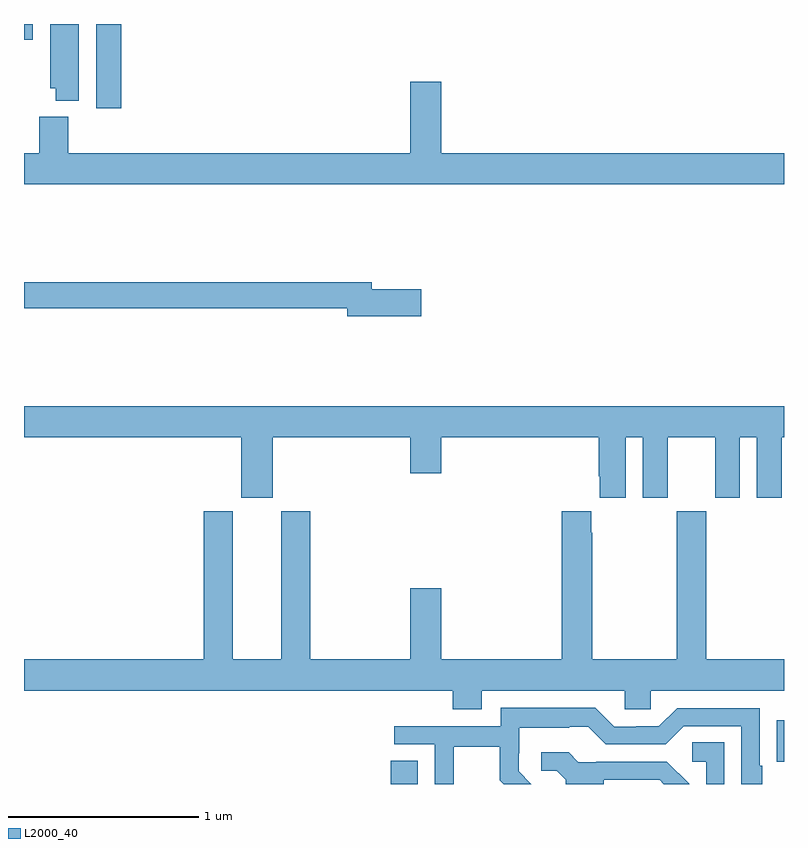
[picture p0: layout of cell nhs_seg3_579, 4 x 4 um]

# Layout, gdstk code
import gdstk
lib = gdstk.Library(unit=1e-6, precision=1e-09)
def R(c, l, rs):  # rectangles x0, y0, x1, y1
    for r in rs: c.add(gdstk.rectangle(r[:2], r[2:], *l))
def P(c, l, *ps):  # polygons
    for p in ps: c.add(gdstk.Polygon(p, *l))
L2000_40 = (2000, 40)

nhs_seg3_579 = lib.new_cell('nhs_seg3_579')
R(nhs_seg3_579, L2000_40, [(140.93,724.4,141.073,724.523), (142.963,724.516,143,724.735), (139.379,727.956,139.511,728.4), (139,728.316,139.045,728.4)])
P(nhs_seg3_579, L2000_40, [(139.288,728.4),(139.139,728.4),(139.139,728.061),(139.166,728.061),(139.166,727.997),(139.288,727.997)],
  [(143,727.72),(141.196,727.72),(141.196,728.095),(141.032,728.095),(141.032,727.72),(139.232,727.72),(139.232,727.912),(139.079,727.912),(139.079,727.72),(139,727.72),(139,727.556),(143,727.556)],
  [(141.091,727.004),(140.83,727.004),(140.83,727.04),(139,727.04),(139,726.904),(140.702,726.904),(140.702,726.862),(141.091,726.862)],
  [(140.308,726.224),(141.032,726.224),(141.032,726.036),(141.196,726.036),(141.196,726.224),(142.025,726.224),(142.025,726.019),(142.031,726.019),(142.031,725.907),(142.168,725.907),(142.168,726.224),(142.256,726.224),(142.256,725.907),(142.387,725.907),(142.387,726.224),(142.637,726.224),(142.637,725.907),(142.768,725.907),(142.768,726.224),(142.856,726.224),(142.856,725.907),(142.987,725.907),(142.987,726.224),(143,726.224),(143,726.388),(139,726.388),(139,726.224),(140.144,726.224),(140.144,725.907),(140.308,725.907)],
  [(141.409,724.892),(142.161,724.892),(142.161,724.794),(142.299,724.794),(142.299,724.892),(143,724.892),(143,725.056),(142.59,725.056),(142.59,725.836),(142.435,725.836),(142.435,725.056),(141.99,725.056),(141.99,725.723),(141.985,725.723),(141.985,725.836),(141.83,725.836),(141.83,725.056),(141.196,725.056),(141.196,725.431),(141.032,725.431),(141.032,725.056),(140.507,725.056),(140.507,725.835),(140.354,725.835),(140.354,725.056),(140.098,725.056),(140.098,725.835),(139.946,725.835),(139.946,725.056),(139,725.056),(139,724.892),(141.257,724.892),(141.257,724.793),(141.409,724.793)],
  [(141.261,724.596),(141.505,724.596),(141.505,724.421),(141.526,724.4),(141.67,724.4),(141.604,724.466),(141.604,724.563),(141.606,724.563),(141.606,724.697),(141.869,724.697),(141.869,724.701),(141.969,724.701),(142.062,724.608),(142.377,724.608),(142.473,724.704),(142.776,724.704),(142.776,724.4),(142.885,724.4),(142.885,724.495),(142.872,724.495),(142.872,724.8),(142.437,724.8),(142.341,724.704),(142.223,724.704),(142.223,724.701),(142.107,724.701),(142.007,724.801),(141.51,724.801),(141.51,724.704),(140.949,724.704),(140.949,724.608),(141.162,724.608),(141.162,724.4),(141.261,724.4)],
  [(142.686,724.619),(142.518,724.619),(142.518,724.518),(142.59,724.518),(142.59,724.4),(142.686,724.4)],
  [(142.051,724.422),(142.346,724.422),(142.368,724.4),(142.5,724.4),(142.5,724.402),(142.384,724.518),(142.012,724.518),(142.012,724.515),(141.918,724.515),(141.866,724.567),(141.723,724.567),(141.723,724.47),(141.804,724.47),(141.851,724.423),(141.851,724.4),(142.051,724.4)])

lib.write_gds('nhs_seg3_579.gds')
